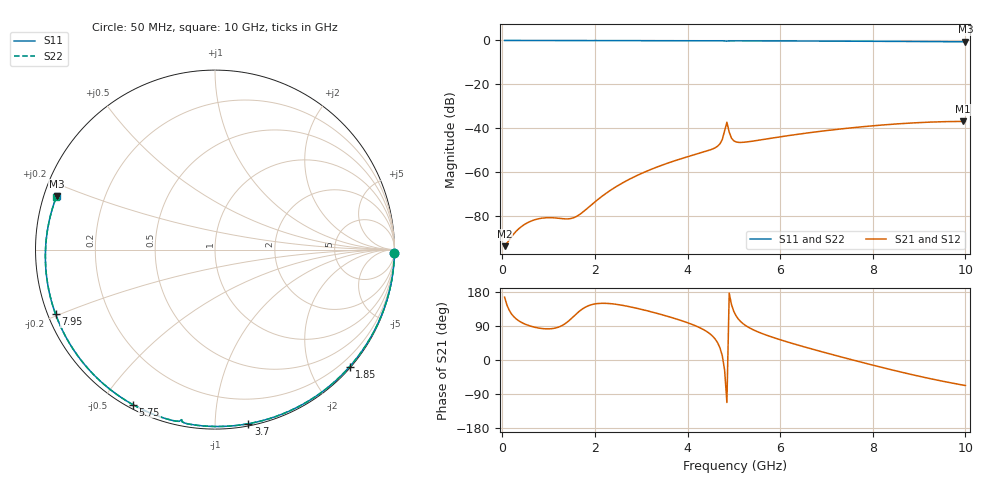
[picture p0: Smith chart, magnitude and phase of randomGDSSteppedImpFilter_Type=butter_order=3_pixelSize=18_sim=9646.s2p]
! freq	dB(S11)	phase(S11)	dB(S12)	phase(S12)
!  dB(S21)	phase(S21)	dB(S22)	phase(S22)
!S-par simulation data
#  GHz  S  DB  R 50
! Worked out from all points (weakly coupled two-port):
!   200 points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, 50 MHz to 10 GHz, reference 50 ohm
!   highest |S21| = -36.93 dB at 9.95 GHz (marker M1); lowest = -93.8 dB at 50 MHz (marker M2)
!   lowest |S11| = -0.6 dB at 10 GHz (marker M3), VSWR 28.11, Z = 1.83 + j8.16 ohm
!   |S11| at or under -10 dB: nowhere
!   |S22| runs from -0.6 to 0.0 dB; largest |S21 - S12| = 0
!   S11 on the Smith chart (normalised r, x): 50 MHz: open; 1.85 GHz: 0.02, -2.68; 3.7 GHz: 0.02, -1.21; 5.75 GHz: 0.02, -0.60; 7.95 GHz: 0.02, -0.19; 10 GHz: 0.04, +0.16
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0.05  -0.00 -1.1  -93.80 165.8  -93.80 165.8  -0.00 -1.1
0.8  -0.02 -18.0  -81.23 84.0  -81.23 84.0  -0.02 -18.0
1.6  -0.05 -35.5  -80.27 121.8  -80.27 121.8  -0.05 -35.5
1.75  -0.05 -38.8  -78.08 136.3  -78.08 136.3  -0.05 -38.8
1.85  -0.05 -40.9  -76.31 142.7  -76.31 142.7  -0.05 -40.9
2.2  -0.06 -48.4  -70.32 149.7  -70.32 149.7  -0.06 -48.4
2.55  -0.07 -55.8  -65.52 145.2  -65.52 145.2  -0.07 -55.8
3.4  -0.10 -73.2  -57.25 121.1  -57.25 121.1  -0.10 -73.2
3.7  -0.11 -79.1  -55.02 110.5  -55.02 110.5  -0.11 -79.1
4.65  -0.15 -97.7  -48.21 45.4  -48.21 45.4  -0.15 -97.6
4.75  -0.16 -99.7  -45.20 11.5  -45.20 11.5  -0.16 -99.7
4.85  -0.31 -101.1  -37.30 -112.1  -37.30 -112.1  -0.31 -101.1
4.9  -0.20 -101.7  -41.79 176.5  -41.79 176.5  -0.20 -101.7
4.95  -0.17 -102.8  -44.59 145.7  -44.59 145.7  -0.17 -102.8
5.05  -0.17 -104.8  -46.28 116.1  -46.28 116.1  -0.17 -104.8
5.75  -0.20 -117.9  -44.77 63.5  -44.77 63.5  -0.20 -117.8
6.7  -0.26 -135.1  -41.88 28.5  -41.88 28.5  -0.26 -135.1
7.95  -0.37 -157.9  -39.01 -12.0  -39.01 -12.0  -0.37 -157.9
8.35  -0.41 -165.4  -38.32 -24.2  -38.32 -24.2  -0.41 -165.4
9.15  -0.50 179.1  -37.31 -46.9  -37.31 -46.9  -0.50 179.1
9.95  -0.61 162.5  -36.93 -66.3  -36.93 -66.3  -0.61 162.6
10  -0.62 161.4  -36.93 -67.4  -36.93 -67.4  -0.62 161.5
